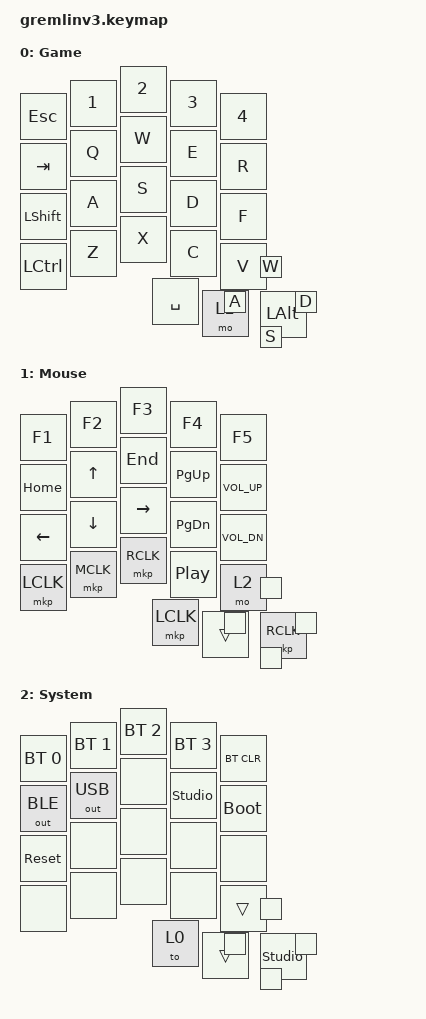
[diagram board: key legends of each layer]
/*
 * Copyright (c) 2026 The ZMK Contributors
 *
 * SPDX-License-Identifier: MIT
 */

#include <behaviors.dtsi>
#include <dt-bindings/zmk/keys.h>
#include <dt-bindings/zmk/bt.h>
#include <dt-bindings/zmk/outputs.h>
#include <dt-bindings/zmk/pointing.h>

/*
 * ==============================================================================
 * Gremlin v3 Keymap Matrix Index Mapping:
 *
 * [ 0] S1    [ 1] S2    [ 2] S3    [ 3] S4    [ 4] S5
 * [ 5] S6    [ 6] S7    [ 7] S8    [ 8] S9    [ 9] S10
 * [10] S11   [11] S12   [12] S13   [13] S14   [14] S15
 * [15] S16   [16] S17   [17] S18   [18] S19   [19] S20
 *                       [20] S21   [21] S22
 * [22] Joy-Con Stick Click (L3)
 * [23] Stick UP   [24] Stick DOWN   [25] Stick LEFT   [26] Stick RIGHT
 * ==============================================================================
 */

/ {
    combos {
        compatible = "zmk,combos";

        /* Press both thumb keys (S21 + S22) to toggle Layer 2 (System/Bluetooth) */
        combo_system_layer {
            timeout-ms = <50>;
            key-positions = <20 21>;
            bindings = <&tog 2>;
        };
    };

    keymap {
        compatible = "zmk,keymap";

        /*
         * ----------------------------------------------------------------------
         * Layer 0: Gaming / Default
         * Analog Stick Mode: SWITCH (Emulates WASD movement)
         * ----------------------------------------------------------------------
         */
        default_layer {
            display-name = "Game";
            bindings = <
                /* Row 0: S1 - S5 */
                &kp ESC       &kp N1        &kp N2        &kp N3        &kp N4
                /* Row 1: S6 - S10 */
                &kp TAB       &kp Q         &kp W         &kp E         &kp R
                /* Row 2: S11 - S15 */
                &kp LSHIFT    &kp A         &kp S         &kp D         &kp F
                /* Row 3: S16 - S20 */
                &kp LCTRL     &kp Z         &kp X         &kp C         &kp V
                /* Thumb Keys: S21, S22 */
                &kp SPACE     &mo 1
                /* Joy-Con Stick Click (L3) */
                &kp LALT
                /* Joy-Con Analog Stick Directions (Switch Mode: WASD) */
                &kp W         &kp S         &kp A         &kp D
            >;
        };

        /*
         * ----------------------------------------------------------------------
         * Layer 1: Mouse & Navigation
         * Analog Stick Mode: MOUSE (Distance from center controls cursor speed)
         * ----------------------------------------------------------------------
         */
        mouse_layer {
            display-name = "Mouse";
            bindings = <
                /* Row 0: Function Keys */
                &kp F1        &kp F2        &kp F3        &kp F4        &kp F5
                /* Row 1: Navigation & Volume */
                &kp HOME      &kp UP        &kp END       &kp PG_UP     &kp C_VOL_UP
                /* Row 2: Navigation & Volume */
                &kp LEFT      &kp DOWN      &kp RIGHT     &kp PG_DN     &kp C_VOL_DN
                /* Row 3: Mouse Clicks & Media */
                &mkp LCLK     &mkp MCLK     &mkp RCLK     &kp C_PP      &mo 2
                /* Thumb Keys */
                &mkp LCLK     &trans
                /* Joy-Con Stick Click (L3) -> Right Click in Mouse Mode */
                &mkp RCLK
                /* Joy-Con Analog Stick Directions (Inactive in Mouse Mode: stick sends mouse events) */
                &none         &none         &none         &none
            >;
        };

        /*
         * ----------------------------------------------------------------------
         * Layer 2: System / Bluetooth / Scroll
         * Analog Stick Mode: SCROLL (Distance from center controls scroll wheel)
         * ----------------------------------------------------------------------
         */
        system_layer {
            display-name = "System";
            bindings = <
                /* Row 0: Bluetooth Profiles 0-3 & Clear */
                &bt BT_SEL 0  &bt BT_SEL 1  &bt BT_SEL 2  &bt BT_SEL 3  &bt BT_CLR
                /* Row 1: BLE/USB Output Switch, Studio Unlock, Bootloader */
                &out OUT_BLE  &out OUT_USB  &none         &studio_unlock &bootloader
                /* Row 2: System Reset */
                &sys_reset    &none         &none         &none         &none
                /* Row 3: Utility */
                &none         &none         &none         &none         &trans
                /* Thumb Keys: Return to Game Layer */
                &to 0         &trans
                /* Joy-Con Stick Click (L3) -> Studio Unlock */
                &studio_unlock
                /* Joy-Con Analog Stick Directions (Inactive in Scroll Mode: stick sends wheel events) */
                &none         &none         &none         &none
            >;
        };
    };
};
